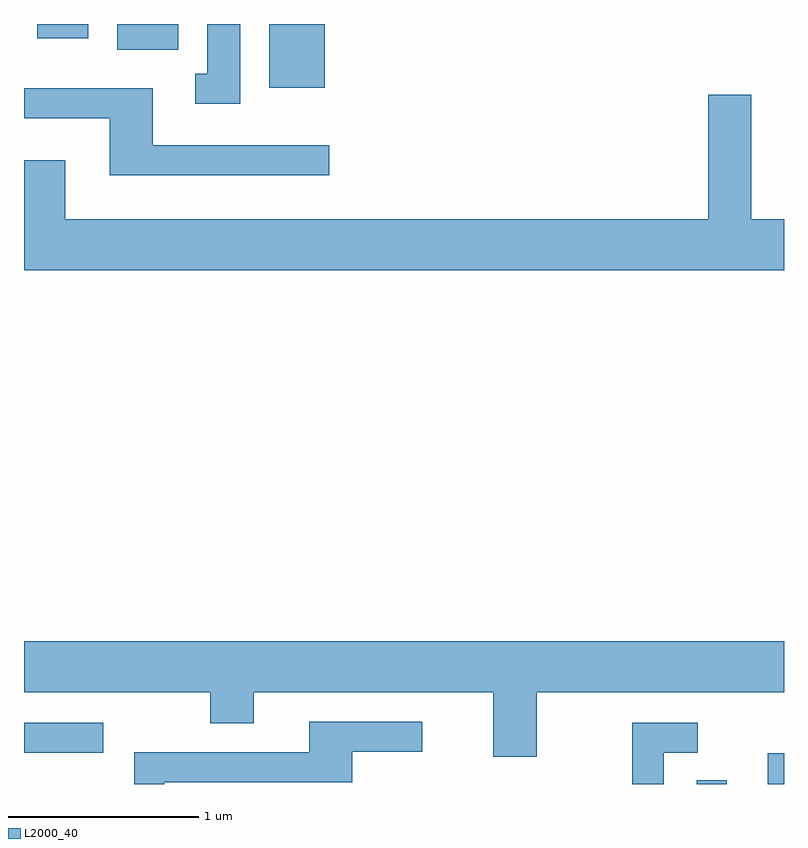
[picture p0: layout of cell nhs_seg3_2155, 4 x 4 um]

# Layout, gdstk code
import gdstk
lib = gdstk.Library(unit=1e-6, precision=1e-09)
def R(c, l, rs):  # rectangles x0, y0, x1, y1
    for r in rs: c.add(gdstk.rectangle(r[:2], r[2:], *l))
def P(c, l, *ps):  # polygons
    for p in ps: c.add(gdstk.Polygon(p, *l))
L2000_40 = (2000, 40)

nhs_seg3_2155 = lib.new_cell('nhs_seg3_2155')
R(nhs_seg3_2155, L2000_40, [(251.151,1209.892,251.309,1209.913), (251.526,1209.892,251.611,1210.054), (247.611,1210.056,248.028,1210.214), (248.901,1213.556,249.194,1213.892), (248.101,1213.756,248.424,1213.892), (247.681,1213.816,247.949,1213.892)])
P(nhs_seg3_2155, L2000_40, [(248.749,1213.892),(248.576,1213.892),(248.576,1213.629),(248.513,1213.629),(248.513,1213.471),(248.749,1213.471)],
  [(249.218,1213.254),(248.289,1213.254),(248.289,1213.554),(247.611,1213.554),(247.611,1213.396),(248.061,1213.396),(248.061,1213.096),(249.218,1213.096)],
  [(251.611,1212.864),(251.439,1212.864),(251.439,1213.519),(251.211,1213.519),(251.211,1212.864),(247.829,1212.864),(247.829,1213.174),(247.611,1213.174),(247.611,1212.596),(251.611,1212.596)],
  [(250.309,1210.376),(251.611,1210.376),(251.611,1210.644),(247.611,1210.644),(247.611,1210.376),(248.591,1210.376),(248.591,1210.211),(248.819,1210.211),(248.819,1210.376),(250.081,1210.376),(250.081,1210.036),(250.309,1210.036)],
  [(248.349,1209.901),(249.339,1209.901),(249.339,1210.061),(249.708,1210.061),(249.708,1210.219),(249.111,1210.219),(249.111,1210.059),(248.191,1210.059),(248.191,1209.892),(248.349,1209.892)],
  [(250.979,1210.056),(251.158,1210.056),(251.158,1210.214),(250.811,1210.214),(250.811,1209.892),(250.979,1209.892)])

lib.write_gds('nhs_seg3_2155.gds')
